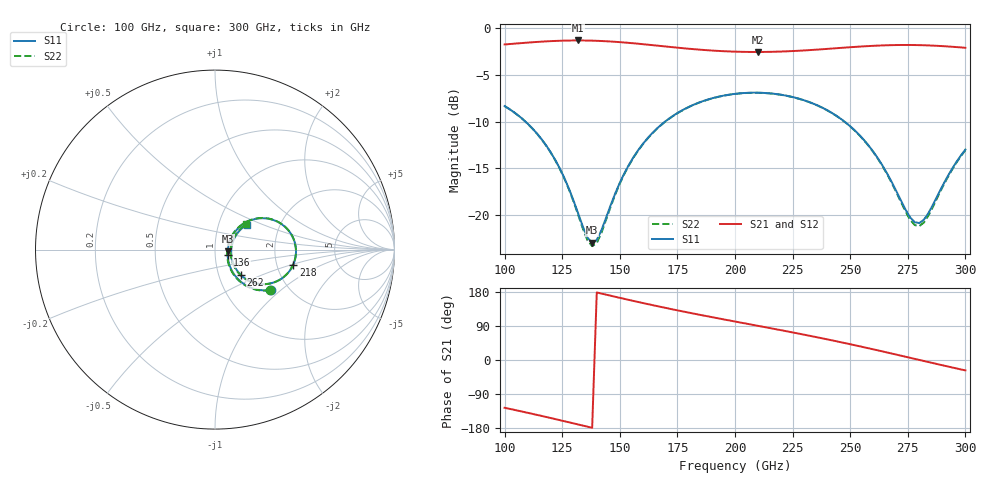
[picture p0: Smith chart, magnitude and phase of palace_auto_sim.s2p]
#  GHZ S DB R 50
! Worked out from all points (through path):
!   101 points, 100 GHz to 300 GHz, reference 50 ohm
!   highest |S21| = -1.32 dB at 132 GHz (marker M1); lowest = -2.6 dB at 210 GHz (marker M2)
!   group delay of S21, straight-line fit = 3.54 ps
!   lowest |S11| = -23.0 dB at 138 GHz (marker M3), VSWR 1.15, Z = 57.6 - j0.993 ohm
!   |S11| at or under -10 dB: 109.1 GHz to 169.6 GHz (60.58 GHz wide, 43.5 % of centre); 247.6 GHz to end of sweep
!   |S22| runs from -23.3 to -6.9 dB; largest |S21 - S12| = 1.4e-12
!   S11 on the Smith chart (normalised r, x): 100 GHz: 1.62, -0.85; 136 GHz: 1.15, -0.07; 218 GHz: 2.47, -0.52; 262 GHz: 1.27, -0.38; 300 GHz: 1.36, +0.40
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100  -8.33 -35.9  -1.75 -126.1  -1.75 -126.1  -8.34 -36.2
118  -12.53 -50.8  -1.42 -150.3  -1.42 -150.3  -12.55 -51.5
126  -16.06 -51.8  -1.34 -161.6  -1.34 -161.6  -16.12 -52.7
132  -19.87 -42.0  -1.32 -170.3  -1.32 -170.3  -20.02 -43.3
134  -21.25 -33.9  -1.32 -173.1  -1.32 -173.1  -21.47 -35.2
136  -22.40 -22.0  -1.33 -176.0  -1.33 -176.0  -22.71 -23.0
138  -22.95 -6.9  -1.34 -178.9  -1.34 -178.9  -23.31 -7.3
142  -21.62 21.4  -1.38 175.4  -1.38 175.4  -21.91 22.3
154  -14.59 42.7  -1.58 158.5  -1.58 158.5  -14.65 43.5
168  -10.33 34.9  -1.92 139.9  -1.92 139.9  -10.35 35.4
184  -7.99 20.7  -2.29 120.2  -2.29 120.2  -8.01 21.0
200  -7.03 5.8  -2.52 101.6  -2.52 101.6  -7.04 6.0
210  -6.91 -3.4  -2.55 90.1  -2.55 90.1  -6.91 -3.3
218  -7.05 -10.9  -2.52 80.9  -2.52 80.9  -7.06 -10.8
234  -8.08 -25.6  -2.32 62.0  -2.32 62.0  -8.09 -25.7
250  -10.49 -39.1  -2.04 41.6  -2.04 41.6  -10.51 -39.4
262  -13.91 -44.5  -1.87 25.4  -1.87 25.4  -13.96 -45.0
268  -16.44 -41.7  -1.82 17.1  -1.82 17.1  -16.54 -42.5
276  -20.22 -20.5  -1.80 5.8  -1.80 5.8  -20.48 -21.2
280  -20.85 0.3  -1.82 0.2  -1.82 0.2  -21.17 0.5
290  -16.90 34.5  -1.92 -13.8  -1.92 -13.8  -17.04 35.7
300  -12.98 37.9  -2.10 -27.4  -2.10 -27.4  -13.04 38.9
